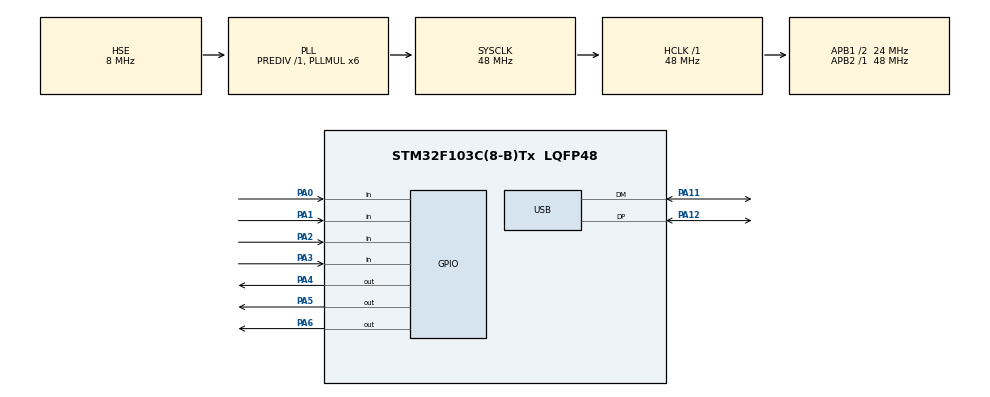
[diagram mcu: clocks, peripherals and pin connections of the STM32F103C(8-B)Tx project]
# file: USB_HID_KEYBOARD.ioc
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Mcu.Family=STM32F1
PA2.GPIO_PuPd=GPIO_PULLUP
USB_DEVICE.CLASS_NAME_FS=HID
PD1-OSC_OUT.Mode=HSE-External-Oscillator
USB_DEVICE.VirtualModeFS=Hid_FS
PA3.GPIO_PuPd=GPIO_PULLUP
PA11.Mode=Device
PD0-OSC_IN.Signal=RCC_OSC_IN
RCC.APB1CLKDivider=RCC_HCLK_DIV2
RCC.SYSCLKSource=RCC_SYSCLKSOURCE_PLLCLK
ProjectManager.StackSize=0x400
PA0-WKUP.Signal=GPIO_Input
PD1-OSC_OUT.Signal=RCC_OSC_OUT
PA13.Signal=SYS_JTMS-SWDIO
PA12.Signal=USB_DP
ProjectManager.TargetToolchain=MDK-ARM V5
RCC.HCLKFreq_Value=48000000
RCC.APB2TimFreq_Value=48000000
RCC.USBFreq_Value=48000000
PA1.GPIO_PuPd=GPIO_PULLUP
PA1.Signal=GPIO_Input
RCC.AHBFreq_Value=48000000
PD0-OSC_IN.Mode=HSE-External-Oscillator
PA5.Signal=GPIO_Output
board=custom
RCC.PLLMUL=RCC_PLL_MUL6
VP_USB_DEVICE_VS_USB_DEVICE_HID_FS.Mode=HID_FS
RCC.APB2Freq_Value=48000000
PA14.Mode=Serial_Wire
NVIC.USB_LP_CAN1_RX0_IRQn=true\:0\:0\:false\:false\:true\:false\:true
PA13.Mode=Serial_Wire
Mcu.Name=STM32F103C(8-B)Tx
PA2.Signal=GPIO_Input
PA4.Signal=GPIO_Output
RCC.SYSCLKFreq_VALUE=48000000
Mcu.Package=LQFP48
PA6.Signal=GPIO_Output
PA12.Mode=Device
PA11.Signal=USB_DM
PA14.Signal=SYS_JTCK-SWCLK
ProjectManager.HeapSize=0x200
NVIC.PriorityGroup=NVIC_PRIORITYGROUP_4
RCC.APB1TimFreq_Value=48000000
PA0-WKUP.GPIO_PuPd=GPIO_PULLUP
RCC.APB1Freq_Value=24000000
USB_DEVICE.VirtualMode=Hid
PA3.Signal=GPIO_Input

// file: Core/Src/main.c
/* USER CODE BEGIN Header */
/**
  ******************************************************************************
  * @file           : main.c
  * @brief          : Main program body
  ******************************************************************************
  * @attention
  *
  * <h2><center>&copy; Copyright (c) 2021 STMicroelectronics.
  * All rights reserved.</center></h2>
  *
  * This software component is licensed by ST under Ultimate Liberty license
  * SLA0044, the "License"; You may not use this file except in compliance with
  * the License. You may obtain a copy of the License at:
  *                             www.st.com/SLA0044
  *
  ******************************************************************************
  */
/* USER CODE END Header */
#include "main.h"
#include "usb_device.h"

/* USER CODE BEGIN Includes */
#include "usbd_hid.h"
#include "KEYPAD.h"
/* USER CODE END Includes */
/* USER CODE BEGIN PTD */
uint8_t report[8] = {
	0, //MODIFIER
	0, //RESERVED
	0, //KEYCODE1
	0, //KEYCODE2
	0, //KEYCODE3
	0, //KEYCODE4
	0, //KEYCODE5
	0  //KEYCODE6
};
extern USBD_HandleTypeDef hUsbDeviceFS;
char Key;
KEYPAD_Name KeyPad;
char KEYMAP[NUMROWS][NUMCOLS] = {
{0x1E,0x1F,0x20},
{0x21,0x22,0x23},
{0x24,0x25,0x26},
{0x55,0x27,0x58}
};

/* USER CODE END PTD */

void SystemClock_Config(void);
static void MX_GPIO_Init(void);

int main(void)
{

  /* MCU Configuration--------------------------------------------------------*/

  /* Reset of all peripherals, Initializes the Flash interface and the Systick. */
  HAL_Init();

  /* Configure the system clock */
  SystemClock_Config();

  /* Initialize all configured peripherals */
  MX_GPIO_Init();
  MX_USB_DEVICE_Init();
  /* USER CODE BEGIN 2 */
	KEYPAD3X4_Init(&KeyPad, KEYMAP, GPIOA, GPIO_PIN_4, GPIOA, GPIO_PIN_5, GPIOA, GPIO_PIN_6,
																	GPIOA, GPIO_PIN_0, GPIOA, GPIO_PIN_1,
																	GPIOA, GPIO_PIN_2, GPIOA, GPIO_PIN_3);
  /* USER CODE END 2 */

  /* Infinite loop */
  while (1)
  {

    /* USER CODE BEGIN 3 */
		Key = KEYPAD3X4_Readkey(&KeyPad);
		if(Key)
		{
			report[2] = Key;
			USBD_HID_SendReport(&hUsbDeviceFS, report, sizeof (report)); // gui ki tu
			HAL_Delay(50);

			Key = 0;
			report[2] = 0;
			USBD_HID_SendReport(&hUsbDeviceFS, report, sizeof (report)); // dung gui ki tu
			HAL_Delay(50);
		}
  }
  /* USER CODE END 3 */
}

void SystemClock_Config(void)
{
  RCC_OscInitTypeDef RCC_OscInitStruct = {0};
  RCC_ClkInitTypeDef RCC_ClkInitStruct = {0};
  RCC_PeriphCLKInitTypeDef PeriphClkInit = {0};

  /** Initializes the RCC Oscillators according to the specified parameters
  * in the RCC_OscInitTypeDef structure.
  */
  RCC_OscInitStruct.OscillatorType = RCC_OSCILLATORTYPE_HSE;
  RCC_OscInitStruct.HSEState = RCC_HSE_ON;
  RCC_OscInitStruct.HSEPredivValue = RCC_HSE_PREDIV_DIV1;
  RCC_OscInitStruct.HSIState = RCC_HSI_ON;
  RCC_OscInitStruct.PLL.PLLState = RCC_PLL_ON;
  RCC_OscInitStruct.PLL.PLLSource = RCC_PLLSOURCE_HSE;
  RCC_OscInitStruct.PLL.PLLMUL = RCC_PLL_MUL6;
  if (HAL_RCC_OscConfig(&RCC_OscInitStruct) != HAL_OK)
  {
    Error_Handler();
  }
  /** Initializes the CPU, AHB and APB buses clocks
  */
  RCC_ClkInitStruct.ClockType = RCC_CLOCKTYPE_HCLK|RCC_CLOCKTYPE_SYSCLK
                              |RCC_CLOCKTYPE_PCLK1|RCC_CLOCKTYPE_PCLK2;
  RCC_ClkInitStruct.SYSCLKSource = RCC_SYSCLKSOURCE_PLLCLK;
  RCC_ClkInitStruct.AHBCLKDivider = RCC_SYSCLK_DIV1;
  RCC_ClkInitStruct.APB1CLKDivider = RCC_HCLK_DIV2;
  RCC_ClkInitStruct.APB2CLKDivider = RCC_HCLK_DIV1;

  if (HAL_RCC_ClockConfig(&RCC_ClkInitStruct, FLASH_LATENCY_1) != HAL_OK)
  {
    Error_Handler();
  }
  PeriphClkInit.PeriphClockSelection = RCC_PERIPHCLK_USB;
  PeriphClkInit.UsbClockSelection = RCC_USBCLKSOURCE_PLL;
  if (HAL_RCCEx_PeriphCLKConfig(&PeriphClkInit) != HAL_OK)
  {
    Error_Handler();
  }
}

static void MX_GPIO_Init(void)
{
  GPIO_InitTypeDef GPIO_InitStruct = {0};

  /* GPIO Ports Clock Enable */
  __HAL_RCC_GPIOD_CLK_ENABLE();
  __HAL_RCC_GPIOA_CLK_ENABLE();

  /*Configure GPIO pin Output Level */
  HAL_GPIO_WritePin(GPIOA, GPIO_PIN_4|GPIO_PIN_5|GPIO_PIN_6, GPIO_PIN_RESET);

  /*Configure GPIO pins : PA0 PA1 PA2 PA3 */
  GPIO_InitStruct.Pin = GPIO_PIN_0|GPIO_PIN_1|GPIO_PIN_2|GPIO_PIN_3;
  GPIO_InitStruct.Mode = GPIO_MODE_INPUT;
  GPIO_InitStruct.Pull = GPIO_PULLUP;
  HAL_GPIO_Init(GPIOA, &GPIO_InitStruct);

  /*Configure GPIO pins : PA4 PA5 PA6 */
  GPIO_InitStruct.Pin = GPIO_PIN_4|GPIO_PIN_5|GPIO_PIN_6;
  GPIO_InitStruct.Mode = GPIO_MODE_OUTPUT_PP;
  GPIO_InitStruct.Pull = GPIO_NOPULL;
  GPIO_InitStruct.Speed = GPIO_SPEED_FREQ_LOW;
  HAL_GPIO_Init(GPIOA, &GPIO_InitStruct);

}

void Error_Handler(void)
{
}

/************************ (C) COPYRIGHT STMicroelectronics *****END OF FILE****/
